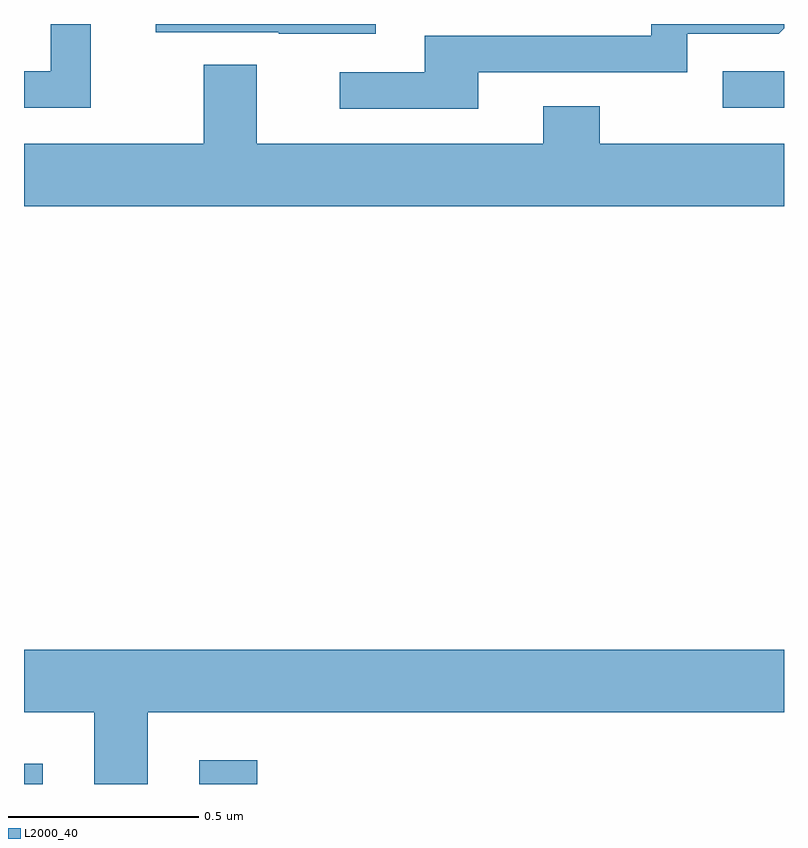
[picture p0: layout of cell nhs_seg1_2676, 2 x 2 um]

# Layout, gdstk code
import gdstk
lib = gdstk.Library(unit=1e-6, precision=1e-09)
def R(c, l, rs):  # rectangles x0, y0, x1, y1
    for r in rs: c.add(gdstk.rectangle(r[:2], r[2:], *l))
def P(c, l, *ps):  # polygons
    for p in ps: c.add(gdstk.Polygon(p, *l))
L2000_40 = (2000, 40)

nhs_seg1_2676 = lib.new_cell('nhs_seg1_2676')
R(nhs_seg1_2676, L2000_40, [(144,562.199,144.049,562.252), (144.461,562.199,144.614,562.261), (145.839,563.979,146,564.075)])
P(nhs_seg1_2676, L2000_40, [(144.175,564.199),(144.071,564.199),(144.071,564.075),(144,564.075),(144,563.979),(144.175,563.979)],
  [(144.925,564.199),(144.347,564.199),(144.347,564.177),(144.671,564.177),(144.671,564.173),(144.925,564.173)],
  [(145.195,564.072),(145.746,564.072),(145.746,564.174),(145.986,564.174),(146,564.188),(146,564.199),(145.65,564.199),(145.65,564.168),(145.055,564.168),(145.055,564.072),(144.831,564.072),(144.831,563.976),(145.195,563.976)],
  [(146,563.884),(145.515,563.884),(145.515,563.983),(145.367,563.983),(145.367,563.884),(144.613,563.884),(144.613,564.092),(144.473,564.092),(144.473,563.884),(144,563.884),(144,563.72),(146,563.72)],
  [(144,562.388),(144.185,562.388),(144.185,562.199),(144.325,562.199),(144.325,562.388),(146,562.388),(146,562.552),(144,562.552)])

lib.write_gds('nhs_seg1_2676.gds')
